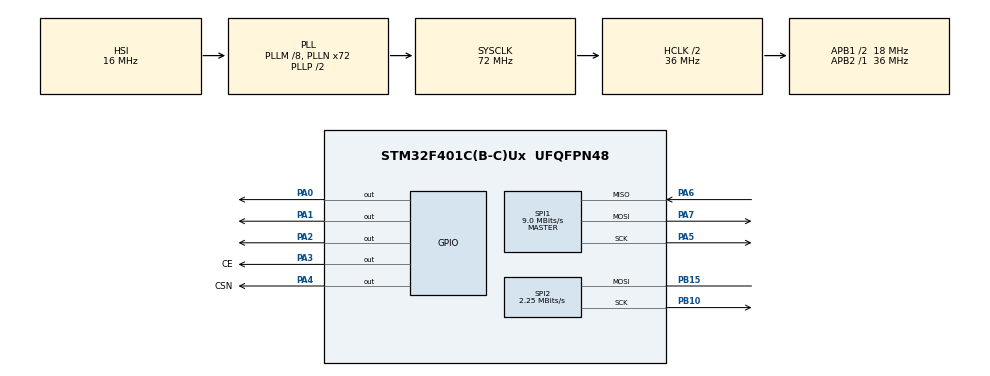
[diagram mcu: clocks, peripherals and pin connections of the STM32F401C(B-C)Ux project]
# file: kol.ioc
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Mcu.Family=STM32F4
Mcu.Name=STM32F401C(B-C)Ux
Mcu.Package=UFQFPN48
NVIC.PriorityGroup=NVIC_PRIORITYGROUP_4
NVIC.SPI1_IRQn=true\:0\:0\:false\:false\:true\:true\:true\:true
PA0-WKUP.Signal=GPIO_Output
PA1.Signal=GPIO_Output
PA2.Signal=GPIO_Output
PA3.GPIO_Label=CE
PA3.Signal=GPIO_Output
PA4.GPIO_Label=CSN
PA4.Signal=GPIO_Output
PA5.Mode=Full_Duplex_Master
PA5.Signal=SPI1_SCK
PA6.Mode=Full_Duplex_Master
PA6.Signal=SPI1_MISO
PA7.Mode=Full_Duplex_Master
PA7.Signal=SPI1_MOSI
PB10.Mode=Simplex_Bidirectional_Master
PB10.Signal=SPI2_SCK
PB15.Mode=Simplex_Bidirectional_Master
PB15.Signal=SPI2_MOSI
ProjectManager.HeapSize=0x200
ProjectManager.StackSize=0x400
ProjectManager.TargetToolchain=STM32CubeIDE
RCC.48MHZClocksFreq_Value=36000000
RCC.AHBCLKDivider=RCC_SYSCLK_DIV2
RCC.AHBFreq_Value=36000000
RCC.APB1CLKDivider=RCC_HCLK_DIV2
RCC.APB1Freq_Value=18000000
RCC.APB1TimFreq_Value=36000000
RCC.APB2Freq_Value=36000000
RCC.APB2TimFreq_Value=36000000
RCC.CortexFreq_Value=36000000
RCC.HCLKFreq_Value=36000000
RCC.HSE_VALUE=25000000
RCC.HSI_VALUE=16000000
RCC.LSE_VALUE=32768
RCC.PLLM=8
RCC.PLLN=72
RCC.SYSCLKFreq_VALUE=72000000
RCC.SYSCLKSource=RCC_SYSCLKSOURCE_PLLCLK
RCC.VCOOutputFreq_Value=144000000
SPI1.BaudRatePrescaler=SPI_BAUDRATEPRESCALER_4
SPI1.CalculateBaudRate=9.0 MBits/s
SPI1.Direction=SPI_DIRECTION_2LINES
SPI1.Mode=SPI_MODE_MASTER
SPI1.VirtualType=VM_MASTER
SPI2.BaudRatePrescaler=SPI_BAUDRATEPRESCALER_8
SPI2.CalculateBaudRate=2.25 MBits/s
SPI2.Direction=SPI_DIRECTION_1LINE
SPI2.Mode=SPI_MODE_MASTER
SPI2.VirtualType=VM_MASTER
board=custom

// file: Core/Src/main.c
/* USER CODE BEGIN Header */
/**
  ******************************************************************************
  * @file           : main.c
  * @brief          : Main program body
  ******************************************************************************
  * @attention
  *
  * Copyright (c) 2023 STMicroelectronics.
  * All rights reserved.
  *
  * This software is licensed under terms that can be found in the LICENSE file
  * in the root directory of this software component.
  * If no LICENSE file comes with this software, it is provided AS-IS.
  *
  ******************************************************************************
  */
/* USER CODE END Header */
#include "main.h"

/* USER CODE BEGIN Includes */
#include "MY_NRF24.h"
#include "ST7735.h"
#include "GFX_FUNCTIONS.h"
#include "parcala.h"
/* USER CODE END Includes */

SPI_HandleTypeDef hspi1;
SPI_HandleTypeDef hspi2;

void SystemClock_Config(void);
static void MX_GPIO_Init(void);
static void MX_SPI1_Init(void);
static void MX_SPI2_Init(void);

/* USER CODE BEGIN 0 */

/* USER CODE BEGIN PFP */
char PAKET[4],RXPAKET[20];
uint8_t PACKAGECOUNTER;
uint8_t LASTPACKAGECOUNT;
bool SEND,REC,OK;
uint64_t TxpipeAddrs = 0xC2C2C2C2C2LL;
uint64_t RxpipeAddrs = 0xF0F0F0F0E1LL;

uint32_t X,Y,BUFFER[2];
int gx,gy,deg1,deg2;
char  TEXT[10];
/* USER CODE BEGIN PFP */

/* USER CODE BEGIN PFP */
/*
void HAL_ADC_ConvCpltCallback(ADC_HandleTypeDef* hadc)
{
	if(hadc->Instance == ADC1)
	{
		X = BUFFER[0]/100;
		Y = BUFFER[1]/100;
	}
}*/
/* USER CODE END 0 */

int main(void)
{

  /* MCU Configuration--------------------------------------------------------*/

  /* Reset of all peripherals, Initializes the Flash interface and the Systick. */
  HAL_Init();

  /* Configure the system clock */
  SystemClock_Config();

  /* Initialize all configured peripherals */
  MX_GPIO_Init();
  MX_SPI1_Init();
  MX_SPI2_Init();
  /* USER CODE BEGIN 2 */
  ST7735_Init(1);
  fillScreen(BLACK);
  NRF24_begin(GPIOA, CSN_Pin, CE_Pin, hspi1);
  NRF24_setChannel(120);
  NRF24_setPayloadSize(20);
  NRF24_setAutoAck(false);
  NRF24_openReadingPipe(1, RxpipeAddrs);
  NRF24_startListening();

  /* USER CODE END 2 */

  /* Infinite loop */
  /* USER CODE BEGIN WHILE */
  uint8_t TUR;
  while (1)
  {
    /* USER CODE END WHILE */

    /* USER CODE BEGIN 3 */

	  if(NRF24_available())
	  {
		  REC = NRF24_read(RXPAKET,sizeof(RXPAKET));
		  PACKAGECOUNTER++;
	  }

	  if(TUR==50)
	  {
	  	TUR=0;
	  	LASTPACKAGECOUNT = PACKAGECOUNTER;
	  	PACKAGECOUNTER=0;
	  	processBuffer(RXPAKET, &gx, &gy, &deg1, &deg2);
	  	fillScreen(BLACK);
	  	if(LASTPACKAGECOUNT ==0)
	  	{
	  		sprintf(TEXT,"NO CONNECTION",LASTPACKAGECOUNT);
	  		ST7735_WriteString(0, 0, TEXT, Font_11x18, BLUE,BLACK);
	  	}else
	  	{
	  		sprintf(TEXT,"PPS :%d",LASTPACKAGECOUNT);
	  		ST7735_WriteString(0, 0, TEXT, Font_11x18, BLUE,BLACK);
	  		sprintf(TEXT,"Gx|y :%d-%d",gx,gy);
	  		ST7735_WriteString(0, 19, TEXT, Font_11x18, BLUE,BLACK);
	  		sprintf(TEXT,"Deg1|2 :%d-%d",deg1,deg2);
	  		ST7735_WriteString(0, 39, TEXT, Font_11x18, BLUE,BLACK);
	  		sprintf(TEXT,"----DACIA----",deg1,deg2);
	  		ST7735_WriteString(0, 60, TEXT, Font_11x18, GREEN,BLACK);
	  	}
	  }
	  TUR++;

	  HAL_Delay(20);

  }
  /* USER CODE END 3 */
}

void SystemClock_Config(void)
{
  RCC_OscInitTypeDef RCC_OscInitStruct = {0};
  RCC_ClkInitTypeDef RCC_ClkInitStruct = {0};

  /** Configure the main internal regulator output voltage
  */
  __HAL_RCC_PWR_CLK_ENABLE();
  __HAL_PWR_VOLTAGESCALING_CONFIG(PWR_REGULATOR_VOLTAGE_SCALE2);

  /** Initializes the RCC Oscillators according to the specified parameters
  * in the RCC_OscInitTypeDef structure.
  */
  RCC_OscInitStruct.OscillatorType = RCC_OSCILLATORTYPE_HSI;
  RCC_OscInitStruct.HSIState = RCC_HSI_ON;
  RCC_OscInitStruct.HSICalibrationValue = RCC_HSICALIBRATION_DEFAULT;
  RCC_OscInitStruct.PLL.PLLState = RCC_PLL_ON;
  RCC_OscInitStruct.PLL.PLLSource = RCC_PLLSOURCE_HSI;
  RCC_OscInitStruct.PLL.PLLM = 8;
  RCC_OscInitStruct.PLL.PLLN = 72;
  RCC_OscInitStruct.PLL.PLLP = RCC_PLLP_DIV2;
  RCC_OscInitStruct.PLL.PLLQ = 4;
  if (HAL_RCC_OscConfig(&RCC_OscInitStruct) != HAL_OK)
  {
    Error_Handler();
  }

  /** Initializes the CPU, AHB and APB buses clocks
  */
  RCC_ClkInitStruct.ClockType = RCC_CLOCKTYPE_HCLK|RCC_CLOCKTYPE_SYSCLK
                              |RCC_CLOCKTYPE_PCLK1|RCC_CLOCKTYPE_PCLK2;
  RCC_ClkInitStruct.SYSCLKSource = RCC_SYSCLKSOURCE_PLLCLK;
  RCC_ClkInitStruct.AHBCLKDivider = RCC_SYSCLK_DIV2;
  RCC_ClkInitStruct.APB1CLKDivider = RCC_HCLK_DIV2;
  RCC_ClkInitStruct.APB2CLKDivider = RCC_HCLK_DIV1;

  if (HAL_RCC_ClockConfig(&RCC_ClkInitStruct, FLASH_LATENCY_1) != HAL_OK)
  {
    Error_Handler();
  }
}

static void MX_SPI1_Init(void)
{

  /* SPI1 parameter configuration*/
  hspi1.Instance = SPI1;
  hspi1.Init.Mode = SPI_MODE_MASTER;
  hspi1.Init.Direction = SPI_DIRECTION_2LINES;
  hspi1.Init.DataSize = SPI_DATASIZE_8BIT;
  hspi1.Init.CLKPolarity = SPI_POLARITY_LOW;
  hspi1.Init.CLKPhase = SPI_PHASE_1EDGE;
  hspi1.Init.NSS = SPI_NSS_SOFT;
  hspi1.Init.BaudRatePrescaler = SPI_BAUDRATEPRESCALER_4;
  hspi1.Init.FirstBit = SPI_FIRSTBIT_MSB;
  hspi1.Init.TIMode = SPI_TIMODE_DISABLE;
  hspi1.Init.CRCCalculation = SPI_CRCCALCULATION_DISABLE;
  hspi1.Init.CRCPolynomial = 10;
  if (HAL_SPI_Init(&hspi1) != HAL_OK)
  {
    Error_Handler();
  }

}

static void MX_SPI2_Init(void)
{

  /* SPI2 parameter configuration*/
  hspi2.Instance = SPI2;
  hspi2.Init.Mode = SPI_MODE_MASTER;
  hspi2.Init.Direction = SPI_DIRECTION_1LINE;
  hspi2.Init.DataSize = SPI_DATASIZE_8BIT;
  hspi2.Init.CLKPolarity = SPI_POLARITY_LOW;
  hspi2.Init.CLKPhase = SPI_PHASE_1EDGE;
  hspi2.Init.NSS = SPI_NSS_SOFT;
  hspi2.Init.BaudRatePrescaler = SPI_BAUDRATEPRESCALER_8;
  hspi2.Init.FirstBit = SPI_FIRSTBIT_MSB;
  hspi2.Init.TIMode = SPI_TIMODE_DISABLE;
  hspi2.Init.CRCCalculation = SPI_CRCCALCULATION_DISABLE;
  hspi2.Init.CRCPolynomial = 10;
  if (HAL_SPI_Init(&hspi2) != HAL_OK)
  {
    Error_Handler();
  }

}

static void MX_GPIO_Init(void)
{
  GPIO_InitTypeDef GPIO_InitStruct = {0};

  /* GPIO Ports Clock Enable */
  __HAL_RCC_GPIOA_CLK_ENABLE();
  __HAL_RCC_GPIOB_CLK_ENABLE();

  /*Configure GPIO pin Output Level */
  HAL_GPIO_WritePin(GPIOA, GPIO_PIN_0|GPIO_PIN_1|GPIO_PIN_2|CE_Pin
                          |CSN_Pin, GPIO_PIN_RESET);

  /*Configure GPIO pins : PA0 PA1 PA2 CE_Pin
                           CSN_Pin */
  GPIO_InitStruct.Pin = GPIO_PIN_0|GPIO_PIN_1|GPIO_PIN_2|CE_Pin
                          |CSN_Pin;
  GPIO_InitStruct.Mode = GPIO_MODE_OUTPUT_PP;
  GPIO_InitStruct.Pull = GPIO_NOPULL;
  GPIO_InitStruct.Speed = GPIO_SPEED_FREQ_LOW;
  HAL_GPIO_Init(GPIOA, &GPIO_InitStruct);

}

void Error_Handler(void)
{
  __disable_irq();
  while (1)
  {
  }
}
